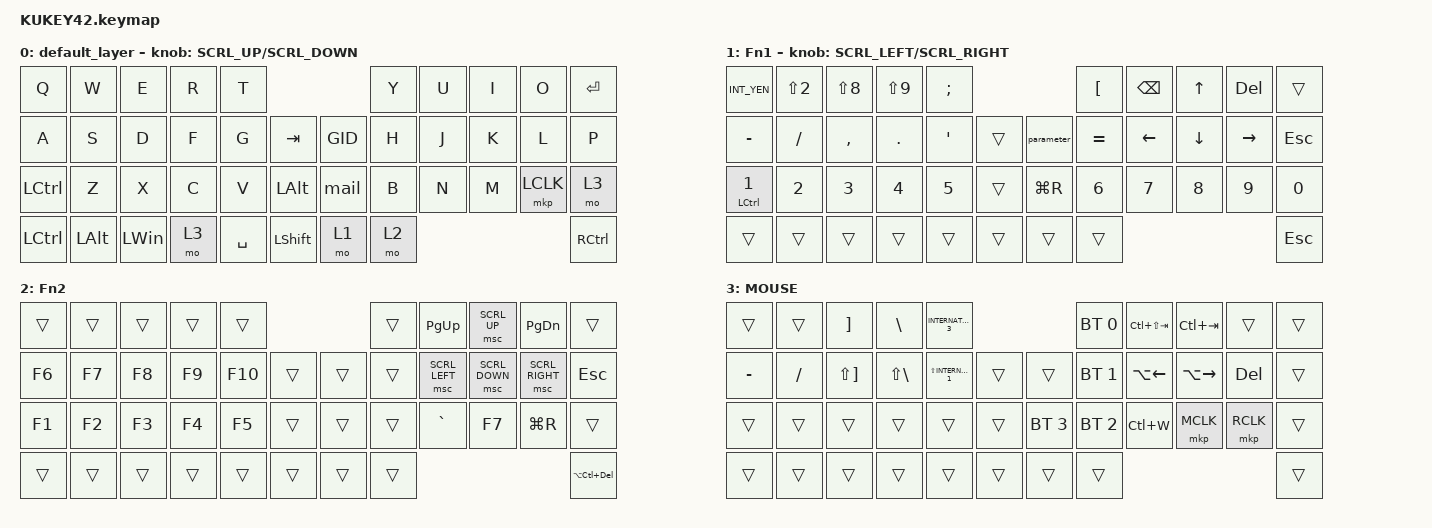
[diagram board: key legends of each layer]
#define ZMK_POINTING_DEFAULT_SCRL_VAL 80

#include <behaviors.dtsi>
#include <dt-bindings/zmk/bt.h>
#include <dt-bindings/zmk/keys.h>
#include <dt-bindings/zmk/pointing.h>

#define MOUSE 4
#define SCROLL 5
#define NUM 6

&mt {
    flavor = "balanced";
    quick-tap-ms = <0>;
};

/ {
    combos { compatible = "zmk,combos"; };

    macros {
        GID: to_layer_0 {
            compatible = "zmk,behavior-macro";
            #binding-cells = <0>;
            bindings = <&kp N0 &kp N1 &kp N0 &kp N8 &kp N4 &kp N0 &kp N9 &kp N4 &kp N7 &kp N0>;
            label = "TO_LAYER_0";
        };

        mail: mail {
            compatible = "zmk,behavior-macro";
            #binding-cells = <0>;
            bindings = <&kp K &kp E &kp I &kp T &kp A &kp DOT &kp B &kp DOT &kp T &kp A &kp K &kp A &kp H &kp A &kp S &kp H &kp I &kp LEFT_BRACKET &kp S &kp O &kp N &kp Y &kp DOT &kp C &kp O &kp M>;
            label = "MAIL";
        };

        parameter: parameter {
            compatible = "zmk,behavior-macro";
            #binding-cells = <0>;
            bindings = <&kp LS(P) &kp A &kp R &kp A &kp M &kp E &kp T &kp E &kp R &kp N8 &kp N8 &kp N4 &kp N2>;
            label = "PARAMETER";
        };
    };

    behaviors {
        lt_to_layer_0: lt_to_layer_0 {
            compatible = "zmk,behavior-hold-tap";
            label = "LAYER_TAP_TO_0";
            bindings = <&mo>, <&GID>;

            #binding-cells = <2>;
            tapping-term-ms = <200>;
        };

        tapdance_kana: tapdance_kana {
            compatible = "zmk,behavior-tap-dance";
            label = "TAPDANCE_KANA";
            #binding-cells = <0>;
            bindings = <&kp INT2>, <&kp LANGUAGE_2>, <&sl 1>;

            tapping-term-ms = <400>;
        };

        WheelScroll: WheelScroll {
            compatible = "zmk,behavior-sensor-rotate-var";
            label = "WHEELSCROLL";
            #sensor-binding-cells = <2>;
            bindings = <&msc>, <&msc>;

            tap-ms = <20>;
        };
    };

    keymap {
        compatible = "zmk,keymap";

        default_layer {
            bindings = <
&kp Q      &kp W         &kp E         &kp R  &kp T                                 &kp Y  &kp U  &kp I  &kp O      &kp ENTER
&kp A      &kp S         &kp D         &kp F  &kp G      &kp TAB             &GID   &kp H  &kp J  &kp K  &kp L      &kp P
&kp LCTRL  &kp Z         &kp X         &kp C  &kp V      &kp LEFT_ALT        &mail  &kp B  &kp N  &kp M  &mkp LCLK  &mo 3
&kp LCTRL  &kp LEFT_ALT  &kp LEFT_WIN  &mo 3  &kp SPACE  &kp LEFT_SHIFT      &mo 1  &mo 2                           &kp RCTRL
            >;

            sensor-bindings = <&WheelScroll SCRL_UP SCRL_DOWN>;
        };

        Fn1 {
            bindings = <
&kp INT_YEN         &kp LS(NUMBER_2)  &kp LS(N8)    &kp LS(N9)    &kp SEMI                                  &kp LEFT_BRACKET  &kp BACKSPACE  &kp UP_ARROW  &kp DELETE    &trans
&kp MINUS           &kp SLASH         &kp COMMA     &kp PERIOD    &kp SINGLE_QUOTE  &trans      &parameter  &kp EQUAL         &kp LEFT       &kp DOWN      &kp RIGHT     &kp ESCAPE
&mt LCTRL NUMBER_1  &kp NUMBER_2      &kp NUMBER_3  &kp NUMBER_4  &kp NUMBER_5      &trans      &kp LG(R)   &kp NUMBER_6      &kp NUMBER_7   &kp NUMBER_8  &kp NUMBER_9  &kp NUMBER_0
&trans              &trans            &trans        &trans        &trans            &trans      &trans      &trans                                                       &kp ESCAPE
            >;

            sensor-bindings = <&WheelScroll SCRL_LEFT SCRL_RIGHT>;
        };

        Fn2 {
            bindings = <
&trans  &trans  &trans  &trans  &trans                       &trans  &kp PAGE_UP     &msc SCRL_UP    &kp PAGE_DOWN    &trans
&kp F6  &kp F7  &kp F8  &kp F9  &kp F10  &trans      &trans  &trans  &msc SCRL_LEFT  &msc SCRL_DOWN  &msc SCRL_RIGHT  &kp ESCAPE
&kp F1  &kp F2  &kp F3  &kp F4  &kp F5   &trans      &trans  &trans  &kp GRAVE       &kp F7          &kp LG(R)        &trans
&trans  &trans  &trans  &trans  &trans   &trans      &trans  &trans                                                   &kp LA(LC(DELETE))
            >;
        };

        MOUSE {
            bindings = <
&trans     &trans     &kp RIGHT_BRACKET      &kp BACKSLASH      &kp INTERNATIONAL_3                                &bt BT_SEL 0  &kp LC(LS(TAB))  &kp LC(TAB)    &trans      &trans
&kp MINUS  &kp SLASH  &kp LS(RIGHT_BRACKET)  &kp LS(BACKSLASH)  &kp LS(INTERNATIONAL_1)  &trans      &trans        &bt BT_SEL 1  &kp LA(LEFT)     &kp LA(RIGHT)  &kp DELETE  &trans
&trans     &trans     &trans                 &trans             &trans                   &trans      &bt BT_SEL 3  &bt BT_SEL 2  &kp LC(W)        &mkp MCLK      &mkp RCLK   &trans
&trans     &trans     &trans                 &trans             &trans                   &trans      &trans        &trans                                                    &trans
            >;
        };
    };
};
